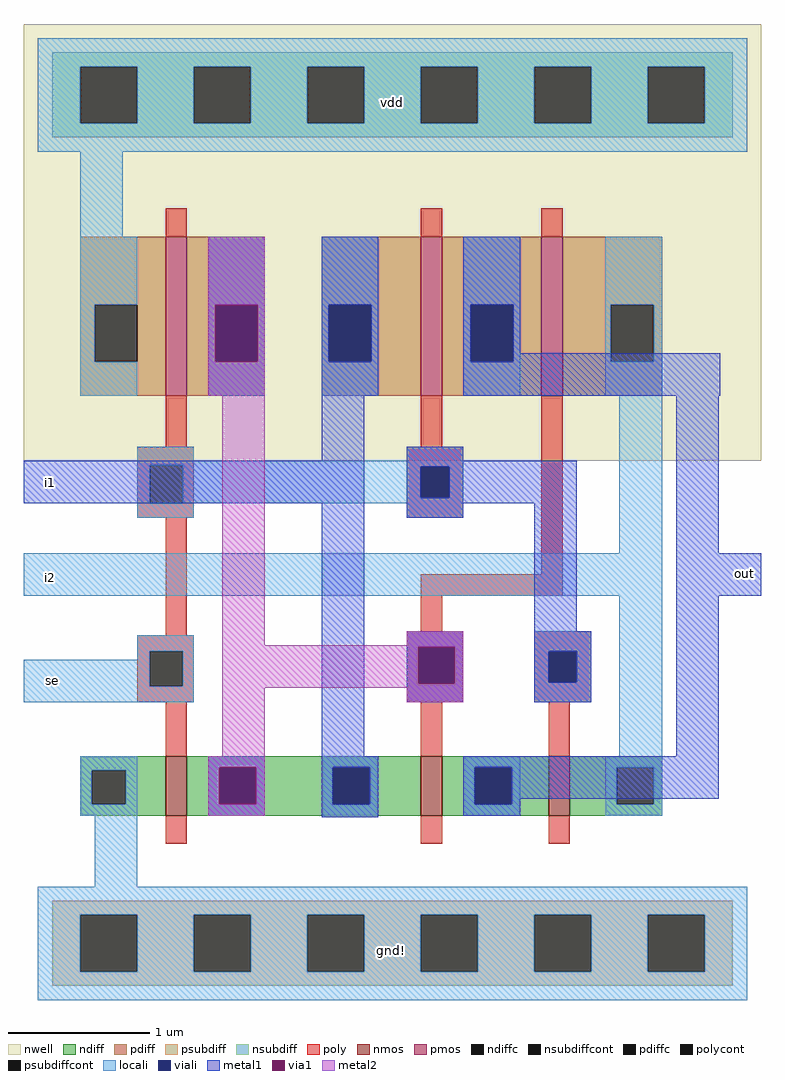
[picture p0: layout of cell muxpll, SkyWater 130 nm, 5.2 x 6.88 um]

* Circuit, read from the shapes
.subckt muxpll gnd! i1 i2 out se vdd
XM1 i1 se gnd! gnd! sky130_fd_pr__nfet_01v8 w=0.42 l=0.15
XM2 out i1 i1 gnd! sky130_fd_pr__nfet_01v8 w=0.42 l=0.15
XM3 i2 se out gnd! sky130_fd_pr__nfet_01v8 w=0.42 l=0.15
XM4 i1 se vdd vdd sky130_fd_pr__pfet_01v8 w=1.12 l=0.15
XM5 out se i1 vdd sky130_fd_pr__pfet_01v8 w=1.12 l=0.15
XM6 i2 i1 out vdd sky130_fd_pr__pfet_01v8 w=1.12 l=0.15
.ends

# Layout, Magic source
magic
tech sky130A
<< nwell >>
rect -10 -190 510 118
<< nmos >>
rect 90 -440 105 -398
rect 270 -440 285 -398
rect 360 -440 375 -398
<< pmos >>
rect 90 -144 105 -32
rect 270 -144 285 -32
rect 355 -144 370 -32
<< ndiff >>
rect 30 -408 90 -398
rect 30 -432 38 -408
rect 62 -432 90 -408
rect 30 -440 90 -432
rect 105 -406 270 -398
rect 105 -432 128 -406
rect 154 -432 208 -406
rect 234 -432 270 -406
rect 105 -440 270 -432
rect 285 -406 360 -398
rect 285 -432 308 -406
rect 334 -432 360 -406
rect 285 -440 360 -432
rect 375 -406 440 -398
rect 375 -432 408 -406
rect 434 -432 440 -406
rect 375 -440 440 -432
<< pdiff >>
rect 30 -80 90 -32
rect 30 -120 40 -80
rect 70 -120 90 -80
rect 30 -144 90 -120
rect 105 -80 160 -32
rect 105 -120 125 -80
rect 155 -120 160 -80
rect 105 -144 160 -120
rect 200 -80 270 -32
rect 200 -120 205 -80
rect 235 -120 270 -80
rect 200 -144 270 -120
rect 285 -80 355 -32
rect 285 -120 305 -80
rect 335 -120 355 -80
rect 285 -144 355 -120
rect 370 -80 440 -32
rect 370 -120 404 -80
rect 434 -120 440 -80
rect 370 -144 440 -120
<< ndiffc >>
rect 38 -432 62 -408
rect 128 -432 154 -406
rect 208 -432 234 -406
rect 308 -432 334 -406
rect 408 -432 434 -406
<< pdiffc >>
rect 40 -120 70 -80
rect 125 -120 155 -80
rect 205 -120 235 -80
rect 305 -120 335 -80
rect 404 -120 434 -80
<< psubdiff >>
rect 10 -510 490 -500
rect 10 -550 30 -510
rect 70 -550 110 -510
rect 150 -550 190 -510
rect 230 -550 270 -510
rect 310 -550 350 -510
rect 390 -550 430 -510
rect 470 -550 490 -510
rect 10 -560 490 -550
<< nsubdiff >>
rect 10 88 490 98
rect 10 48 30 88
rect 70 48 110 88
rect 150 48 190 88
rect 230 48 270 88
rect 310 48 350 88
rect 390 48 430 88
rect 470 48 490 88
rect 10 38 490 48
<< psubdiffcont >>
rect 30 -550 70 -510
rect 110 -550 150 -510
rect 190 -550 230 -510
rect 270 -550 310 -510
rect 350 -550 390 -510
rect 430 -550 470 -510
<< nsubdiffcont >>
rect 30 48 70 88
rect 110 48 150 88
rect 190 48 230 88
rect 270 48 310 88
rect 350 48 390 88
rect 430 48 470 88
<< poly >>
rect 90 -32 105 -12
rect 270 -32 285 -12
rect 355 -32 370 -12
rect 90 -180 105 -144
rect 270 -180 285 -144
rect 70 -193 110 -180
rect 70 -220 79 -193
rect 102 -220 110 -193
rect 70 -230 110 -220
rect 260 -194 300 -180
rect 260 -216 270 -194
rect 290 -216 300 -194
rect 260 -230 300 -216
rect 90 -313 105 -230
rect 355 -270 370 -144
rect 270 -285 370 -270
rect 270 -310 285 -285
rect 70 -324 110 -313
rect 70 -349 79 -324
rect 102 -349 110 -324
rect 70 -360 110 -349
rect 260 -321 300 -310
rect 260 -347 268 -321
rect 294 -347 300 -321
rect 260 -360 300 -347
rect 350 -324 390 -310
rect 350 -346 360 -324
rect 380 -346 390 -324
rect 350 -360 390 -346
rect 90 -398 105 -360
rect 270 -398 285 -360
rect 360 -398 375 -360
rect 90 -460 105 -440
rect 270 -460 285 -440
rect 360 -460 375 -440
<< polycont >>
rect 79 -220 102 -193
rect 270 -216 290 -194
rect 79 -349 102 -324
rect 268 -347 294 -321
rect 360 -346 380 -324
<< locali >>
rect 0 88 500 108
rect 0 48 30 88
rect 70 48 110 88
rect 150 48 190 88
rect 230 48 270 88
rect 310 48 350 88
rect 390 48 430 88
rect 470 48 500 88
rect 0 28 500 48
rect 30 -32 60 28
rect 30 -80 70 -32
rect 30 -120 40 -80
rect 30 -144 70 -120
rect 120 -80 160 -32
rect 120 -120 125 -80
rect 155 -120 160 -80
rect 120 -144 160 -120
rect 200 -80 240 -32
rect 200 -120 205 -80
rect 235 -120 240 -80
rect 200 -144 240 -120
rect 300 -80 340 -32
rect 300 -120 305 -80
rect 335 -120 340 -80
rect 300 -144 340 -120
rect 400 -80 440 -32
rect 400 -120 404 -80
rect 434 -120 440 -80
rect 400 -144 440 -120
rect 70 -190 110 -180
rect 260 -190 300 -180
rect 70 -193 300 -190
rect 70 -220 79 -193
rect 102 -194 300 -193
rect 102 -216 270 -194
rect 290 -216 300 -194
rect 102 -220 300 -216
rect 70 -230 110 -220
rect 260 -230 300 -220
rect 410 -255 440 -144
rect -10 -285 440 -255
rect 70 -324 110 -313
rect 70 -330 79 -324
rect -10 -349 79 -330
rect 102 -349 110 -324
rect -10 -360 110 -349
rect 260 -321 300 -310
rect 260 -347 268 -321
rect 294 -347 300 -321
rect 260 -360 300 -347
rect 350 -324 390 -310
rect 350 -346 360 -324
rect 380 -346 390 -324
rect 350 -360 390 -346
rect 410 -398 440 -285
rect 30 -408 70 -398
rect 30 -432 38 -408
rect 62 -432 70 -408
rect 30 -440 70 -432
rect 120 -406 160 -398
rect 120 -432 128 -406
rect 154 -432 160 -406
rect 120 -440 160 -432
rect 200 -406 240 -398
rect 200 -432 208 -406
rect 234 -432 240 -406
rect 40 -490 70 -440
rect 200 -441 240 -432
rect 300 -406 340 -398
rect 300 -432 308 -406
rect 334 -432 340 -406
rect 300 -440 340 -432
rect 400 -406 440 -398
rect 400 -432 408 -406
rect 434 -432 440 -406
rect 400 -440 440 -432
rect 0 -510 500 -490
rect 0 -550 30 -510
rect 70 -550 110 -510
rect 150 -550 190 -510
rect 230 -550 270 -510
rect 310 -550 350 -510
rect 390 -550 430 -510
rect 470 -550 500 -510
rect 0 -570 500 -550
<< viali >>
rect 125 -120 155 -80
rect 205 -120 235 -80
rect 305 -120 335 -80
rect 270 -216 290 -194
rect 268 -347 294 -321
rect 360 -346 380 -324
rect 128 -432 154 -406
rect 208 -432 234 -406
rect 308 -432 334 -406
<< metal1 >>
rect 120 -80 160 -32
rect 120 -120 125 -80
rect 155 -120 160 -80
rect 120 -144 160 -120
rect 200 -80 240 -32
rect 200 -120 205 -80
rect 235 -120 240 -80
rect 200 -144 240 -120
rect 300 -80 340 -32
rect 300 -120 305 -80
rect 335 -114 340 -80
rect 335 -120 481 -114
rect 300 -144 481 -120
rect 200 -190 230 -144
rect -10 -220 230 -190
rect 200 -398 230 -220
rect 260 -190 300 -180
rect 260 -194 380 -190
rect 260 -216 270 -194
rect 290 -216 380 -194
rect 260 -220 380 -216
rect 260 -230 300 -220
rect 350 -310 380 -220
rect 450 -255 480 -144
rect 450 -285 510 -255
rect 260 -321 300 -310
rect 260 -347 268 -321
rect 294 -347 300 -321
rect 260 -360 300 -347
rect 350 -324 390 -310
rect 350 -346 360 -324
rect 380 -346 390 -324
rect 350 -360 390 -346
rect 450 -398 480 -285
rect 120 -406 160 -398
rect 120 -432 128 -406
rect 154 -432 160 -406
rect 120 -440 160 -432
rect 200 -406 240 -398
rect 200 -432 208 -406
rect 234 -432 240 -406
rect 200 -441 240 -432
rect 300 -406 480 -398
rect 300 -432 308 -406
rect 334 -428 480 -406
rect 334 -432 340 -428
rect 300 -440 340 -432
<< via1 >>
rect 125 -120 155 -80
rect 268 -347 294 -321
rect 128 -432 154 -406
<< metal2 >>
rect 120 -80 160 -32
rect 120 -120 125 -80
rect 155 -120 160 -80
rect 120 -144 160 -120
rect 130 -320 160 -144
rect 260 -320 300 -310
rect 130 -321 300 -320
rect 130 -347 268 -321
rect 294 -347 300 -321
rect 130 -350 300 -347
rect 130 -398 160 -350
rect 260 -360 300 -350
rect 120 -406 160 -398
rect 120 -432 128 -406
rect 154 -432 160 -406
rect 120 -440 160 -432
<< labels >>
rlabel locali 240 -540 258 -530 1 gnd!
rlabel metal1 0 -210 18 -200 1 i1
rlabel locali 0 -277 18 -267 1 i2
rlabel locali 1 -350 19 -340 1 se
rlabel metal1 489 -274 507 -264 1 out
rlabel locali 241 58 259 68 1 vdd
<< end >>
